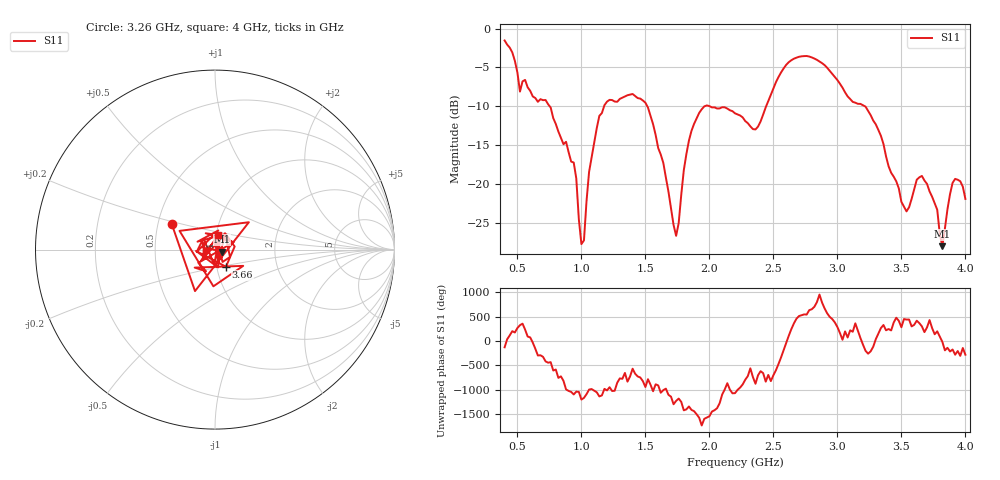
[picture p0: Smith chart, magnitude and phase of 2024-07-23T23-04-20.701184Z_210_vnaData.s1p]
!Created with skrf (http://scikit-rf.org).
# Hz S RI R 50.0
!freq ReS11 ImS11
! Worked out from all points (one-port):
!   181 points, 400 MHz to 4 GHz, reference 50 ohm
!   lowest |S11| = -27.9 dB at 3.82 GHz (marker M1), VSWR 1.08, Z = 54 - j1.18 ohm
!   |S11| at or under -10 dB: 1.515 GHz to 1.96 GHz (444.2 MHz wide, 25.6 % of centre); 2.005 GHz to 2.443 GHz (437.9 MHz wide, 19.7 % of centre); 3.217 GHz to end of sweep (the widest 3 of 4)
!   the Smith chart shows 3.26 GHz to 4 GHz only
!   S11 on the Smith chart (normalised r, x): 3.26 GHz: 0.59, +0.18; 3.66 GHz: 1.11, -0.21; 4 GHz: 1.02, +0.16
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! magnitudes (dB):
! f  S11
! 400 MHz  -1.5
! 520 MHz  -8.1
! 720 MHz  -9.2
! 860 MHz  -14.8
! 940 MHz  -17.2
! 1 GHz  -27.7
! 1.02 GHz  -27.2
! 1.06 GHz  -18.4
! 1.14 GHz  -11.2
! 1.3 GHz  -9.0
! 1.52 GHz  -10.1
! 1.64 GHz  -17.2
! 1.74 GHz  -26.6
! 1.76 GHz  -25.0
! 1.82 GHz  -16.1
! 1.92 GHz  -10.8
! 2.2 GHz  -10.9
! 2.36 GHz  -13.0
! 2.66 GHz  -3.9
! 2.88 GHz  -4.4
! 3.1 GHz  -9.1
! 3.26 GHz  -11.1
! 3.56 GHz  -22.9
! 3.66 GHz  -18.9
! 3.78 GHz  -23.3
! 3.82 GHz  -27.9
! 3.9 GHz  -19.8
! 4 GHz  -21.9
